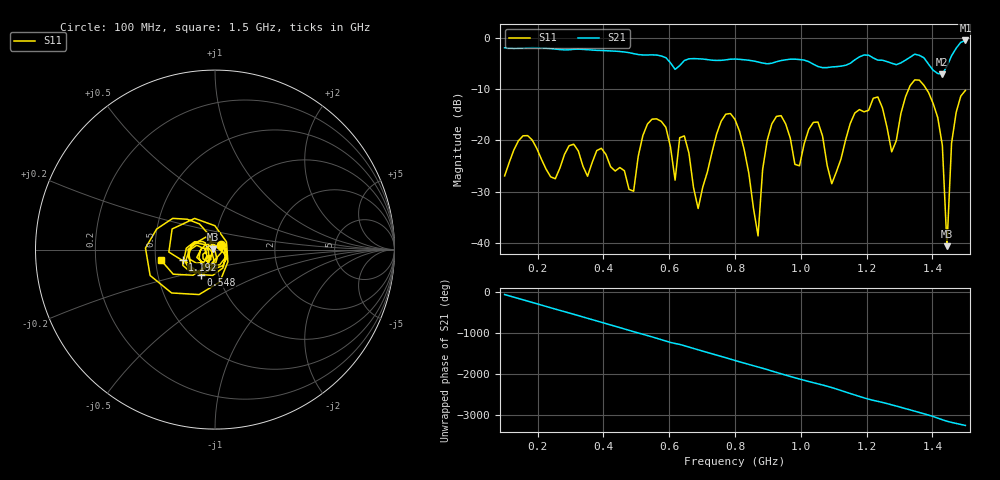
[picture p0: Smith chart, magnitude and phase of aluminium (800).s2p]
! NanoVNA-App
! Date: 2025-09-25 15:01:30
! Start: 100MHz Stop: 1,5GHz Points: 101
! S-Parameter data: F S11 S21 S12 S22
# Hz S RI R 50
!  Frequency  S11_Real  S11_Imag  S21_Real  S21_Imag  S12_Real  S12_Imag  S22_Real  S22_Imag
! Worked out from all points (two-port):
!   101 points, 100 MHz to 1.5 GHz, reference 50 ohm
!   highest |S21| = -0.49 dB at 1.5 GHz (marker M1); lowest = -7.1 dB at 1.43 GHz (marker M2)
!   |S21| within 3 dB of the highest: start of sweep to 573.5 MHz; 1.458 GHz to end of sweep (the widest 2 of 4)
!   lowest |S11| = -40.7 dB at 1.444 GHz (marker M3), VSWR 1.02, Z = 49.1 + j0.174 ohm
!   |S11| at or under -10 dB: start of sweep to 1.328 GHz; 1.381 GHz to end of sweep
!   S12 and S22 are empty: the file has one direction only
!   S11 on the Smith chart (normalised r, x): 100 MHz: 1.07, +0.06; 548 MHz: 0.82, -0.23; 1.192 GHz: 0.69, -0.08; 1.5 GHz: 0.53, -0.07
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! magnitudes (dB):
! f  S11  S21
! 100 MHz  -27.0  -1.9
! 156 MHz  -19.1  -2.0
! 338 MHz  -25.1  -2.2
! 492 MHz  -29.9  -3.1
! 548 MHz  -15.9  -3.3
! 576 MHz  -16.3  -3.5
! 618 MHz  -27.8  -6.1
! 646 MHz  -19.1  -4.4
! 688 MHz  -33.3  -4.1
! 800 MHz  -15.9  -4.1
! 870 MHz  -38.7  -4.7
! 912 MHz  -16.8  -4.9
! 996 MHz  -25.0  -4.2
! 1.038 GHz  -16.5  -5.1
! 1.094 GHz  -28.5  -5.7
! 1.192 GHz  -14.4  -3.3
! 1.276 GHz  -22.3  -4.9
! 1.346 GHz  -8.2  -3.2
! 1.43 GHz  -21.0  -7.1
! 1.444 GHz  -40.7  -5.5
! 1.458 GHz  -20.5  -3.5
! 1.5 GHz  -10.3  -0.5
